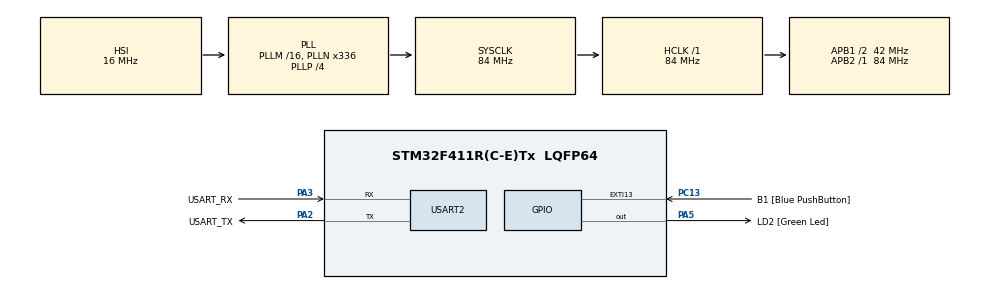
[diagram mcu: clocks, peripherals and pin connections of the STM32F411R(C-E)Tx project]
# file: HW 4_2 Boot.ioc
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IWDG.Prescaler=IWDG_PRESCALER_128
Mcu.Family=STM32F4
Mcu.Name=STM32F411R(C-E)Tx
Mcu.Package=LQFP64
NVIC.PriorityGroup=NVIC_PRIORITYGROUP_0
PA13.GPIO_Label=TMS
PA13.Mode=Serial_Wire
PA13.Signal=SYS_JTMS-SWDIO
PA14.GPIO_Label=TCK
PA14.Mode=Serial_Wire
PA14.Signal=SYS_JTCK-SWCLK
PA2.GPIO_Label=USART_TX
PA2.Mode=Asynchronous
PA2.Signal=USART2_TX
PA3.GPIO_Label=USART_RX
PA3.Mode=Asynchronous
PA3.Signal=USART2_RX
PA5.GPIO_Label=LD2 [Green Led]
PA5.Signal=GPIO_Output
PB3.GPIO_Label=SWO
PB3.Signal=SYS_JTDO-SWO
PC13-ANTI_TAMP.GPIO_Label=B1 [Blue PushButton]
PC13-ANTI_TAMP.GPIO_ModeDefaultEXTI=GPIO_MODE_IT_FALLING
PC13-ANTI_TAMP.Signal=GPXTI13
PC14-OSC32_IN.Mode=LSE-External-Oscillator
PC14-OSC32_IN.Signal=RCC_OSC32_IN
PC15-OSC32_OUT.Mode=LSE-External-Oscillator
PC15-OSC32_OUT.Signal=RCC_OSC32_OUT
PH0\ -\ OSC_IN.Mode=HSE-External-Clock-Source
PH0\ -\ OSC_IN.Signal=RCC_OSC_IN
PH1\ -\ OSC_OUT.Mode=HSE-External-Clock-Source
PH1\ -\ OSC_OUT.Signal=RCC_OSC_OUT
ProjectManager.HeapSize=0x200
ProjectManager.StackSize=0x400
ProjectManager.TargetToolchain=STM32CubeIDE
RCC.48MHZClocksFreq_Value=84000000
RCC.AHBFreq_Value=84000000
RCC.APB1CLKDivider=RCC_HCLK_DIV2
RCC.APB1Freq_Value=42000000
RCC.APB1TimFreq_Value=84000000
RCC.APB2Freq_Value=84000000
RCC.APB2TimFreq_Value=84000000
RCC.CortexFreq_Value=84000000
RCC.FLatency-AdvancedSettings=FLASH_LATENCY_2
RCC.HCLKFreq_Value=84000000
RCC.HSE_VALUE=8000000
RCC.HSI_VALUE=16000000
RCC.PLLN=336
RCC.PLLP=RCC_PLLP_DIV4
RCC.SYSCLKFreq_VALUE=84000000
RCC.SYSCLKSource=RCC_SYSCLKSOURCE_PLLCLK
RCC.VCOOutputFreq_Value=336000000
USART2.VirtualMode=VM_ASYNC
VP_IWDG_VS_IWDG.Mode=IWDG_Activate
board=NUCLEO-F411RE

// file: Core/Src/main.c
/* USER CODE BEGIN Header */
/**
  ******************************************************************************
  * @file           : main.c
  * @brief          : Main program body
  ******************************************************************************
  * @attention
  *
  * Copyright (c) 2026 STMicroelectronics.
  * All rights reserved.
  *
  * This software is licensed under terms that can be found in the LICENSE file
  * in the root directory of this software component.
  * If no LICENSE file comes with this software, it is provided AS-IS.
  *
  ******************************************************************************
  */
/* USER CODE END Header */
#include "main.h"

/* USER CODE BEGIN Includes */
#include "bootloader.h"
/* USER CODE END Includes */

/* USER CODE BEGIN PTD */
// =========================================================================
// =========================================================================
/* USER CODE END PTD */

/* USER CODE BEGIN PD */
// =========================================================================
// 3 вспышки (ON/OFF/ON/OFF/ON/OFF) + 3 паузы (OFF/OFF/OFF)
#define LED_PATTERN  0b10101000
// =========================================================================
/* USER CODE END PD */

IWDG_HandleTypeDef hiwdg;
UART_HandleTypeDef huart2;

/* USER CODE BEGIN PV */
// =========================================================================
RawCSR_t g_csr = {0};    /* Глобальная структура для отладки */
// =========================================================================
/* USER CODE END PV */

void SystemClock_Config(void);
static void MX_GPIO_Init(void);
static void MX_USART2_UART_Init(void);
static void MX_IWDG_Init(void);
/* USER CODE BEGIN PFP */
// =========================================================================
// =========================================================================
/* USER CODE END PFP */

int main(void)
{

  /* MCU Configuration--------------------------------------------------------*/

  /* Reset of all peripherals, Initializes the Flash interface and the Systick. */
  HAL_Init();

  /* Configure the system clock */
  SystemClock_Config();

  /* Initialize all configured peripherals */
  MX_GPIO_Init();
  MX_USART2_UART_Init();
  MX_IWDG_Init();

  /* USER CODE BEGIN 2 */
  // =======================================================================
  // 1. Читаем причины сброса
  Read_Raw_CSR(&g_csr);

  // 2. Очищаем флаги сброса (чтобы при следующем сбросе видеть актуальные)
  __HAL_RCC_CLEAR_RESET_FLAGS();

  uint32_t start_time = HAL_GetTick();
  uint32_t last_led_tick = 0;
  uint8_t led_step = 0;  // 0-7: 3 вспышки (6 шагов) + пауза (2 шага по 100ms)
  // =======================================================================
  /* USER CODE END 2 */

  /* Infinite loop */
  /* USER CODE BEGIN WHILE */

  while (1)
  {
	FeedWatchdog();

	uint32_t now = HAL_GetTick();

	// Проверка таймаута 5 секунд
	if ((now - start_time) >= 5000)
	{
		// Время вышло, кнопка не нажата → запуск App
		AppStart();
	}

	// Паттерн мигания (каждые 100ms)
	if ((now - last_led_tick) >= 100)
	{
		last_led_tick = now;

		if (LED_PATTERN & (1 << (7 - led_step)))
			HAL_GPIO_WritePin(LD2_GPIO_Port, LD2_Pin, GPIO_PIN_SET);
		else
			HAL_GPIO_WritePin(LD2_GPIO_Port, LD2_Pin, GPIO_PIN_RESET);

		led_step = (led_step + 1) % 8;
	}

	// Проверка кнопки (каждые 50ms)
	static uint32_t last_check = 0;
	if ((now - last_check) >= 50)
	{
		last_check = now;
		if (HAL_GPIO_ReadPin(B1_GPIO_Port, B1_Pin) == GPIO_PIN_RESET)
		{
			HAL_Delay(50);  // debounce
			if (HAL_GPIO_ReadPin(B1_GPIO_Port, B1_Pin) == GPIO_PIN_RESET)
			{
				// Кнопка нажата → DFU
				JumpToSystemBootloader();
			}
		}
	}

	// ===================================================================
    /* USER CODE END WHILE */

  }
}

void SystemClock_Config(void)
{
  RCC_OscInitTypeDef RCC_OscInitStruct = {0};
  RCC_ClkInitTypeDef RCC_ClkInitStruct = {0};

  /** Configure the main internal regulator output voltage
  */
  __HAL_RCC_PWR_CLK_ENABLE();
  __HAL_PWR_VOLTAGESCALING_CONFIG(PWR_REGULATOR_VOLTAGE_SCALE1);

  /** Initializes the RCC Oscillators according to the specified parameters
  * in the RCC_OscInitTypeDef structure.
  */
  RCC_OscInitStruct.OscillatorType = RCC_OSCILLATORTYPE_HSI|RCC_OSCILLATORTYPE_LSI;
  RCC_OscInitStruct.HSIState = RCC_HSI_ON;
  RCC_OscInitStruct.HSICalibrationValue = RCC_HSICALIBRATION_DEFAULT;
  RCC_OscInitStruct.LSIState = RCC_LSI_ON;
  RCC_OscInitStruct.PLL.PLLState = RCC_PLL_ON;
  RCC_OscInitStruct.PLL.PLLSource = RCC_PLLSOURCE_HSI;
  RCC_OscInitStruct.PLL.PLLM = 16;
  RCC_OscInitStruct.PLL.PLLN = 336;
  RCC_OscInitStruct.PLL.PLLP = RCC_PLLP_DIV4;
  RCC_OscInitStruct.PLL.PLLQ = 4;
  if (HAL_RCC_OscConfig(&RCC_OscInitStruct) != HAL_OK)
  {
    Error_Handler();
  }

  /** Initializes the CPU, AHB and APB buses clocks
  */
  RCC_ClkInitStruct.ClockType = RCC_CLOCKTYPE_HCLK|RCC_CLOCKTYPE_SYSCLK
                              |RCC_CLOCKTYPE_PCLK1|RCC_CLOCKTYPE_PCLK2;
  RCC_ClkInitStruct.SYSCLKSource = RCC_SYSCLKSOURCE_PLLCLK;
  RCC_ClkInitStruct.AHBCLKDivider = RCC_SYSCLK_DIV1;
  RCC_ClkInitStruct.APB1CLKDivider = RCC_HCLK_DIV2;
  RCC_ClkInitStruct.APB2CLKDivider = RCC_HCLK_DIV1;

  if (HAL_RCC_ClockConfig(&RCC_ClkInitStruct, FLASH_LATENCY_2) != HAL_OK)
  {
    Error_Handler();
  }
}

static void MX_IWDG_Init(void)
{

  hiwdg.Instance = IWDG;
  hiwdg.Init.Prescaler = IWDG_PRESCALER_128;
  hiwdg.Init.Reload = 4095;
  if (HAL_IWDG_Init(&hiwdg) != HAL_OK)
  {
    Error_Handler();
  }

}

static void MX_USART2_UART_Init(void)
{

  huart2.Instance = USART2;
  huart2.Init.BaudRate = 115200;
  huart2.Init.WordLength = UART_WORDLENGTH_8B;
  huart2.Init.StopBits = UART_STOPBITS_1;
  huart2.Init.Parity = UART_PARITY_NONE;
  huart2.Init.Mode = UART_MODE_TX_RX;
  huart2.Init.HwFlowCtl = UART_HWCONTROL_NONE;
  huart2.Init.OverSampling = UART_OVERSAMPLING_16;
  if (HAL_UART_Init(&huart2) != HAL_OK)
  {
    Error_Handler();
  }

}

static void MX_GPIO_Init(void)
{
  GPIO_InitTypeDef GPIO_InitStruct = {0};

  /* GPIO Ports Clock Enable */
  __HAL_RCC_GPIOC_CLK_ENABLE();
  __HAL_RCC_GPIOH_CLK_ENABLE();
  __HAL_RCC_GPIOA_CLK_ENABLE();
  __HAL_RCC_GPIOB_CLK_ENABLE();

  /*Configure GPIO pin Output Level */
  HAL_GPIO_WritePin(LD2_GPIO_Port, LD2_Pin, GPIO_PIN_RESET);

  /*Configure GPIO pin : B1_Pin */
  GPIO_InitStruct.Pin = B1_Pin;
  GPIO_InitStruct.Mode = GPIO_MODE_IT_FALLING;
  GPIO_InitStruct.Pull = GPIO_NOPULL;
  HAL_GPIO_Init(B1_GPIO_Port, &GPIO_InitStruct);

  /*Configure GPIO pin : LD2_Pin */
  GPIO_InitStruct.Pin = LD2_Pin;
  GPIO_InitStruct.Mode = GPIO_MODE_OUTPUT_PP;
  GPIO_InitStruct.Pull = GPIO_NOPULL;
  GPIO_InitStruct.Speed = GPIO_SPEED_FREQ_LOW;
  HAL_GPIO_Init(LD2_GPIO_Port, &GPIO_InitStruct);

}

/* USER CODE BEGIN 4 */
// =========================================================================
// =========================================================================
/* USER CODE END 4 */

void Error_Handler(void)
{
  __disable_irq();
  while (1)
  {
  }
}
